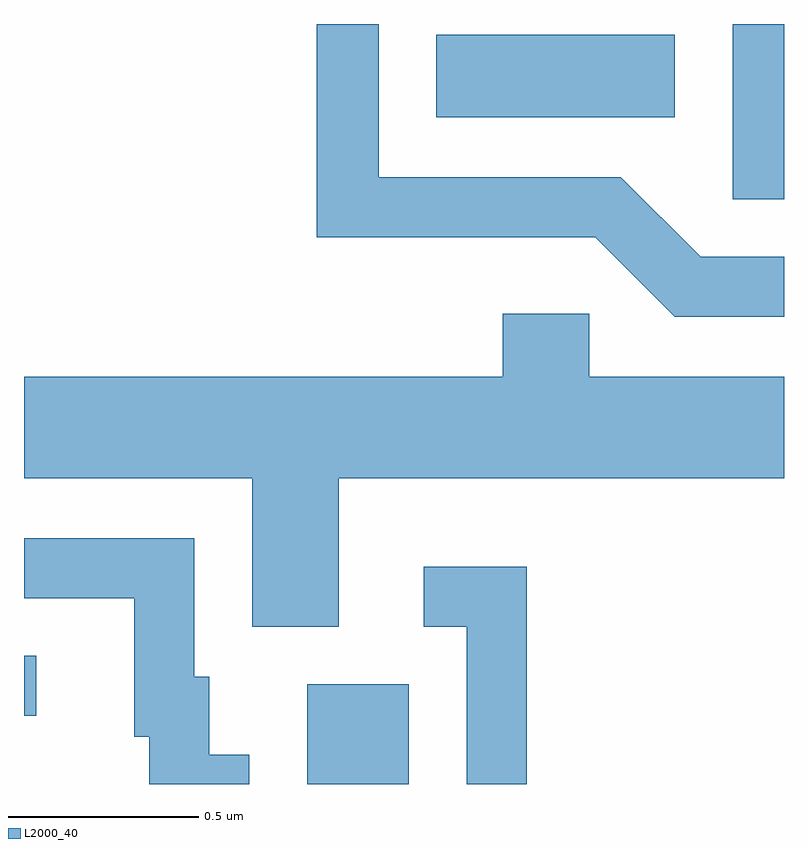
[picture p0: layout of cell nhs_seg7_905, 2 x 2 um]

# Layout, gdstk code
import gdstk
lib = gdstk.Library(unit=1e-6, precision=1e-09)
def R(c, l, rs):  # rectangles x0, y0, x1, y1
    for r in rs: c.add(gdstk.rectangle(r[:2], r[2:], *l))
def P(c, l, *ps):  # polygons
    for p in ps: c.add(gdstk.Polygon(p, *l))
L2000_40 = (2000, 40)

nhs_seg7_905 = lib.new_cell('nhs_seg7_905')
R(nhs_seg7_905, L2000_40, [(192.356,1751.252,192.624,1751.514), (191.611,1751.431,191.643,1751.589), (193.476,1752.791,193.611,1753.252), (192.696,1753.006,193.324,1753.224)])
P(nhs_seg7_905, L2000_40, [(193.611,1752.639),(193.392,1752.639),(193.182,1752.849),(192.544,1752.849),(192.544,1753.252),(192.381,1753.252),(192.381,1752.691),(193.114,1752.691),(193.324,1752.481),(193.611,1752.481)],
  [(192.439,1752.056),(193.611,1752.056),(193.611,1752.324),(193.099,1752.324),(193.099,1752.489),(192.871,1752.489),(192.871,1752.324),(191.611,1752.324),(191.611,1752.056),(192.211,1752.056),(192.211,1751.666),(192.439,1751.666)],
  [(192.204,1751.329),(192.099,1751.329),(192.099,1751.534),(192.059,1751.534),(192.059,1751.899),(191.611,1751.899),(191.611,1751.741),(191.901,1751.741),(191.901,1751.376),(191.941,1751.376),(191.941,1751.252),(192.204,1751.252)],
  [(192.934,1751.824),(192.663,1751.824),(192.663,1751.666),(192.776,1751.666),(192.776,1751.252),(192.934,1751.252)])

lib.write_gds('nhs_seg7_905.gds')
